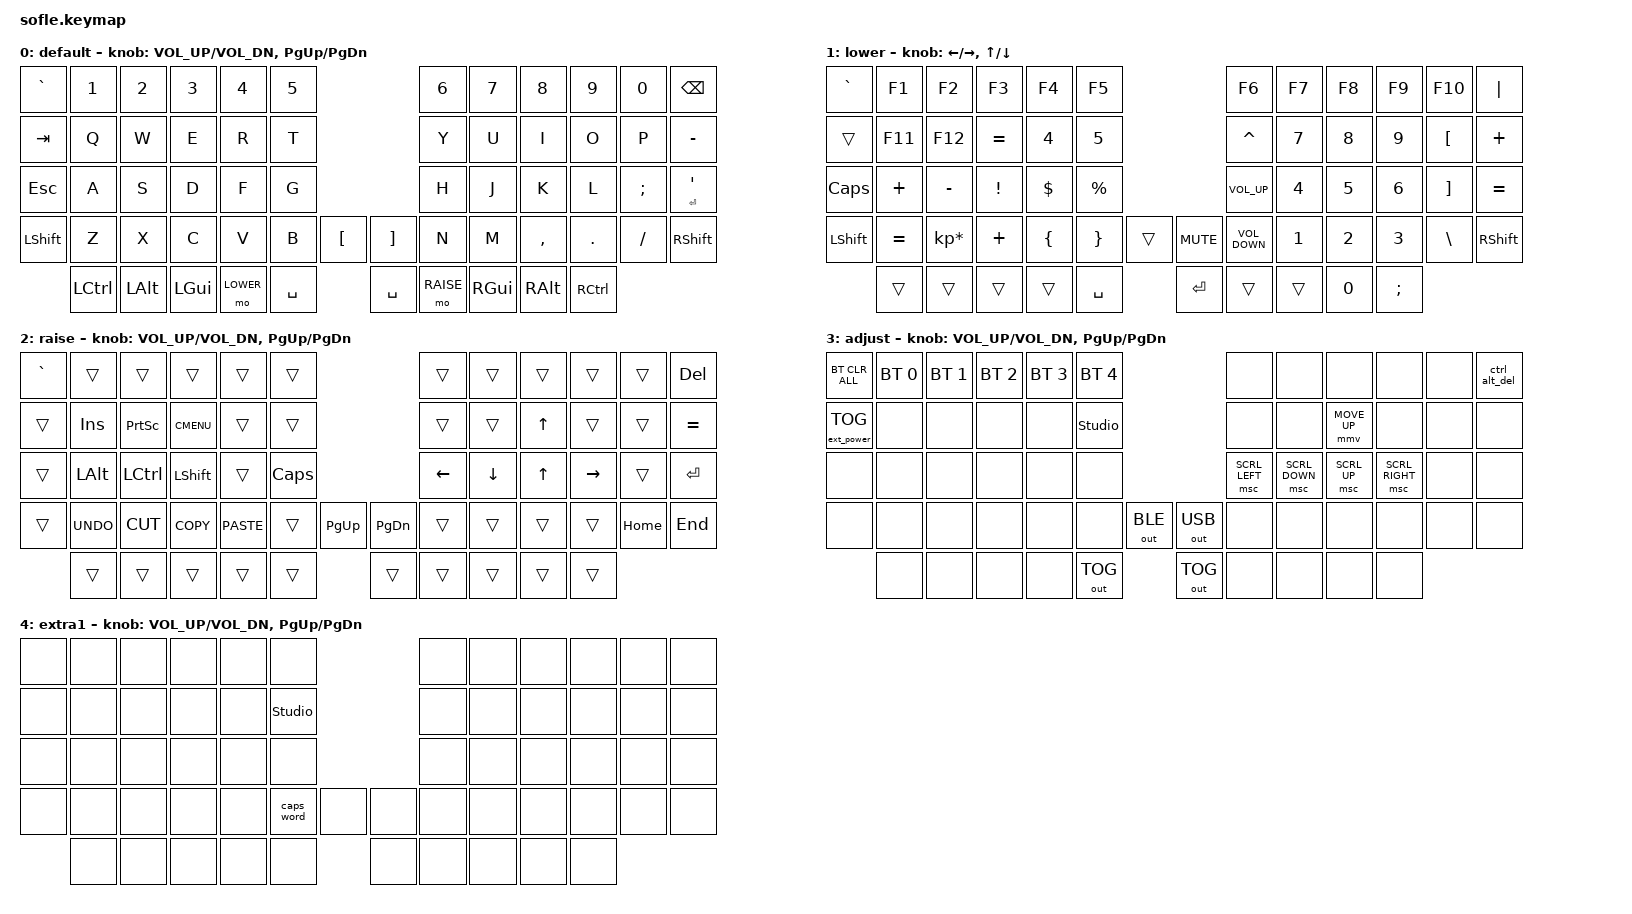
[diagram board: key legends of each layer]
/*
 * Copyright (c) 2020 The ZMK Contributors
 *
 * SPDX-License-Identifier: MIT
 */

#include <behaviors.dtsi>
#include <dt-bindings/zmk/bt.h>
#include <dt-bindings/zmk/ext_power.h>
#include <dt-bindings/zmk/keys.h>
#include <dt-bindings/zmk/outputs.h>
#include <dt-bindings/zmk/pointing.h>

#define ZMK_POINTING_DEFAULT_MOVE_VAL 1000  // default: 600
#define ZMK_POINTING_DEFAULT_SCRL_VAL 40    // default: 10
#define BASE 0
#define LOWER 1
#define RAISE 2
#define ADJUST 3
#define extra_layer 4

/ {
    // Activate ADJUST layer by pressing raise and lower

    conditional_layers {
        compatible = "zmk,conditional-layers";

        adjust_layer {
            if-layers = <LOWER RAISE>;
            then-layer = <ADJUST>;
        };
    };

    combos {
        compatible = "zmk,combos";

        backspace {
            bindings = <&kp BACKSPACE>;
            key-positions = <32 31>;
        };

        delete {
            bindings = <&kp DELETE>;
            key-positions = <27 33>;
        };

        esc {
            bindings = <&kp ESCAPE>;
            key-positions = <25 41>;
        };
    };

    macros {
        ctrl_alt_del: ctrl_alt_del {
        compatible = "zmk,behavior-macro";
        #binding-cells = <0>;
        bindings
            = <&macro_press &kp LCTRL>
            , <&macro_press &kp LALT>
            , <&macro_tap &kp DEL>
            , <&macro_release &kp LALT>
            , <&macro_release &kp LCTRL>
            ;
        };
    };

    behaviors {
        caps: caps {
            compatible = "zmk,behavior-caps-word";
            label = "CAPS";
            #binding-cells = <0>;
            continue-list = <POUND MINUS BACKSPACE UNDERSCORE>;
        };
        my_mt: mod_tap {
            compatible = "zmk,behavior-hold-tap";
            #binding-cells = <2>;
            flavor = "hold-preferred";
            tapping-term-ms = <135>;
            bindings = <&kp>, <&kp>;
            display-name = "Mod-Tap";
        };
    };

    keymap {
        compatible = "zmk,keymap";

        default_layer {
            display-name = "default";

            // ------------------------------------------------------------------------------------------------------------
            // |  ESC     |  1  |  2  |  3   |  4   |  5   |                   |  6   |  7    |  8    |  9   |   0   |  MINUS |
            // |  TAB     |  Q  |  W  |  E   |  R   |  T   |                   |  Y   |  U    |  I    |  O   |   P   | BSPC |
            // |  LSHIFT  |  A  |  S  |  D   |  F   |  G   |                   |  H   |  J    |  K    |  L   |   ;   | '   |
            // |  LCTRL   |  Z  |  X  |  C   |  V   |  B   |  LBKT  |  | RBKT  |  N   |  M    |  ,    |  .   |   /   | RCTRL |
            //               | GUI | ALT  | CTRL | LOWER|  ENTER |  | SPACE | RAISE| CTRL  | ALT   | GUI  |

            bindings = <
&kp GRAVE      &kp N1  &kp N2    &kp N3    &kp N4     &kp N5                                   &kp N6     &kp N7     &kp N8     &kp N9    &kp N0    &kp BSPC
&kp TAB      &kp Q   &kp W     &kp E     &kp R      &kp T                                    &kp Y      &kp U      &kp I      &kp O     &kp P     &kp MINUS
&kp ESC      &kp A   &kp S     &kp D     &kp F      &kp G                                    &kp H      &kp J      &kp K      &kp L     &kp SEMI  &my_mt ENTER SQT
&kp LSHIFT   &kp Z   &kp X     &kp C     &kp V      &kp B    &kp LBKT          &kp RBKT      &kp N      &kp M      &kp COMMA  &kp DOT   &kp FSLH  &kp RSHIFT
                &kp LCTRL  &kp LALT  &kp LGUI  &mo LOWER  &kp SPACE              &kp SPACE   &mo RAISE  &kp RGUI  &kp RALT   &kp RCTRL
            >;

            sensor-bindings = <&inc_dec_kp C_VOL_UP C_VOL_DN &inc_dec_kp PG_UP PG_DN>;
        };

        lower_layer {
            display-name = "lower";

            // TODO: Some binds are waiting for shifted keycode support.
            // ------------------------------------------------------------------------------------------------------------
            // |       |  F1 |  F2 |  F3  |  F4  |  F5  |                   |  F6  |  F7   |  F8   |  F9  |  F10  |  F11  |
            // |   `   |  1  |  2  |  3   |  4   |  5   |                   |  6   |  7    |  8    |  9   |   0   |  F12  |
            // |       |  !  |  @  |  #   |  $   |  %   |                   |  ^   |  &    |  *    |  (   |   )   |   |   |
            // |       |  =  |  -  |  +   |  {   |  }   |        |  |       |  [   |  ]    |  ;    |  :   |   \   |       |
            //               |     |      |      |      |        |  |       |      |       |       |      |

            bindings = <
&kp GRAVE     &kp F1      &kp F2           &kp F3    &kp F4    &kp F5                            &kp F6              &kp F7   &kp F8   &kp F9   &kp F10     &kp PIPE
&trans        &kp F11     &kp F12          &kp EQUAL &kp N4    &kp N5                            &kp CARET           &kp N7   &kp N8   &kp N9   &kp LBKT    &kp PLUS
&kp CAPS      &kp PLUS    &kp MINUS        &kp EXCL  &kp DLLR  &kp PRCNT                         &kp K_VOLUME_UP     &kp N4   &kp N5   &kp N6   &kp RBKT    &kp EQUAL
&kp LSHIFT    &kp EQUAL   &kp KP_MULTIPLY  &kp PLUS  &kp LBRC  &kp RBRC   &trans     &kp K_MUTE  &kp K_VOLUME_DOWN   &kp N1   &kp N2   &kp N3   &kp BSLH    &kp RSHIFT
                          &trans     &trans    &trans    &trans     &kp SPACE           &kp ENTER   &trans     &trans      &kp N0   &kp SEMI
            >;

            sensor-bindings =
                <&inc_dec_kp LEFT_ARROW RIGHT_ARROW>,
                <&inc_dec_kp UP_ARROW DOWN_ARROW>;
        };

        raise_layer {
            display-name = "raise";

            // ------------------------------------------------------------------------------------------------------------
            // | BTCLR | BT1  | BT2  |  BT3  |  BT4  |  BT5 |                |      |      |       |      |       |       |
            // |       | INS  | PSCR | GUI   |       |      |                | PGUP |      |   ^   |      |       |       |
            // |       | ALT  | CTRL | SHIFT |       | CAPS |                | PGDN |   <- |   v   |  ->  |  DEL  | BKSPC |
            // |       | UNDO | CUT  | COPY  | PASTE |      |      |  |      |      |      |       |      |       |       |
            //                |      |       |       |      |      |  |      |      |      |       |      |

            bindings = <
&kp GRAVE  &trans      &trans     &trans       &trans       &trans                            &trans     &trans    &trans    &trans     &trans   &kp DEL
&trans   &kp INS     &kp PSCRN  &kp K_CMENU  &trans       &trans                            &trans     &trans    &kp UP    &trans     &trans   &kp EQUAL
&trans   &kp LALT    &kp LCTRL  &kp LSHFT    &trans       &kp CLCK                          &kp LEFT   &kp DOWN  &kp UP  &kp RIGHT    &trans    &kp ENTER
&trans   &kp K_UNDO  &kp K_CUT  &kp K_COPY   &kp K_PASTE  &trans    &kp PG_UP    &kp PG_DN  &trans     &trans    &trans    &trans     &kp HOME   &kp END
                    &trans     &trans       &trans       &trans    &trans           &trans  &trans     &trans    &trans    &trans
            >;

            sensor-bindings = <&inc_dec_kp C_VOL_UP C_VOL_DN &inc_dec_kp PG_UP PG_DN>;
        };

        adjust_layer {
            // ----------------------------------------------------------------------------------------------------------------------------
            // | BTCLR  |  BT1    |  BT2    |   BT3   |   BT4   |   BT5   |                  |      |      |       |      |       |       |
            // | EXTPWR | RGB_HUD | RGB_HUI | RGB_SAD | RGB_SAI | RGB_EFF |                  |      |      |       |      |       |       |
            // |        | RGB_BRD | RGB_BRI |         |         |         |                  |      |      |       |      |       |       |
            // |        |         |         |         |         |         | RGB_TOG | |      |      |      |       |      |       |       |
            //                    |         |         |         |         |         | |      |      |      |       |      |

            display-name = "adjust";
            bindings = <
&bt BT_CLR_ALL     &bt BT_SEL 0  &bt BT_SEL 1  &bt BT_SEL 2  &bt BT_SEL 3  &bt BT_SEL 4                                 &none              &none             &none           &none             &none       &ctrl_alt_del
&ext_power EP_TOG  &none         &none         &none         &none         &studio_unlock                               &none              &none             &mmv MOVE_UP    &none             &none       &none
&none              &none         &none         &none         &none         &none                                        &msc SCRL_LEFT     &msc SCRL_DOWN    &msc SCRL_UP    &msc SCRL_RIGHT   &none       &none
&none              &none         &none         &none         &none         &none     &out OUT_BLE        &out OUT_USB   &none              &none             &none           &none             &none       &none
                                 &none         &none         &none         &none    &out OUT_TOG             &out OUT_TOG      &none      &none       &none     &none
            >;

            sensor-bindings = <&inc_dec_kp C_VOL_UP C_VOL_DN &inc_dec_kp PG_UP PG_DN>;
        };
        extra_layer {
            // ----------------------------------------------------------------------------------------------------------------------------
            // | BTCLR  |  BT1    |  BT2    |   BT3   |   BT4   |   BT5   |                  |      |      |       |      |       |       |
            // | EXTPWR | RGB_HUD | RGB_HUI | RGB_SAD | RGB_SAI | RGB_EFF |                  |      |      |       |      |       |       |
            // |        | RGB_BRD | RGB_BRI |         |         |         |                  |      |      |       |      |       |       |
            // |        |         |         |         |         |         | RGB_TOG | |      |      |      |       |      |       |       |
            //                    |         |         |         |         |         | |      |      |      |       |      |

            display-name = "extra1";
            bindings = <
&none              &none         &none         &none         &none         &none           &none  &none  &none  &none  &none  &none
&none              &none         &none         &none         &none         &studio_unlock  &none  &none  &none  &none  &none  &none
&none              &none         &none         &none         &none         &none           &none  &none  &none  &none  &none  &none
&none              &none         &none         &none         &none         &caps_word      &none  &none  &none  &none  &none  &none  &none  &none
                                 &none         &none         &none         &none           &none  &none  &none  &none  &none  &none
            >;

            sensor-bindings = <&inc_dec_kp C_VOL_UP C_VOL_DN &inc_dec_kp PG_UP PG_DN>;
        };
    };
};
